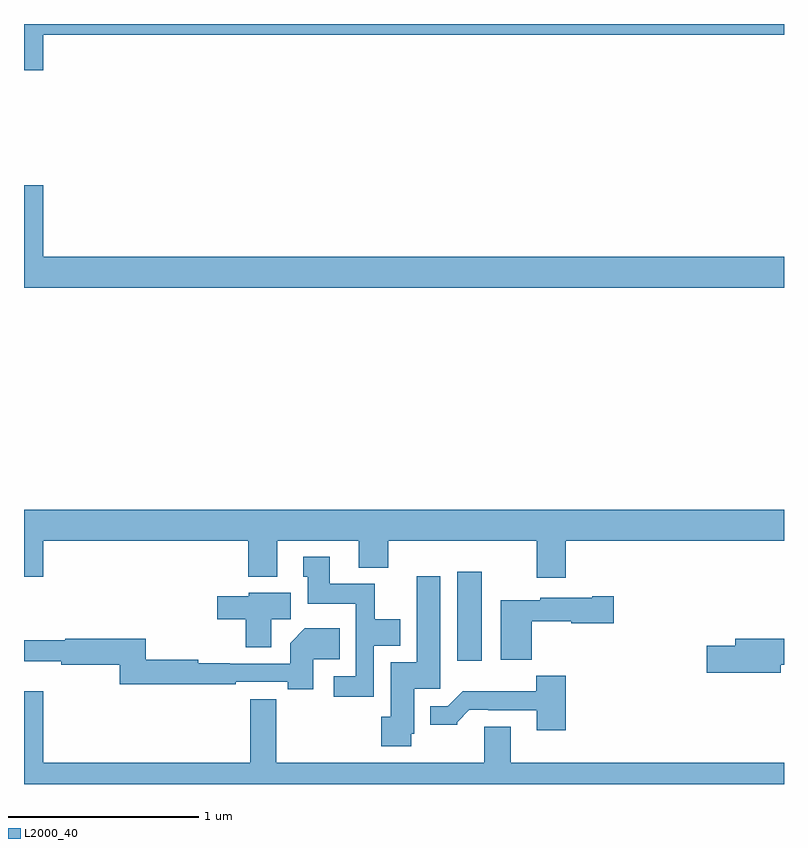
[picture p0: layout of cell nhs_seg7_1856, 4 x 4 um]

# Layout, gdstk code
import gdstk
lib = gdstk.Library(unit=1e-6, precision=1e-09)
def R(c, l, rs):  # rectangles x0, y0, x1, y1
    for r in rs: c.add(gdstk.rectangle(r[:2], r[2:], *l))
def P(c, l, *ps):  # polygons
    for p in ps: c.add(gdstk.Polygon(p, *l))
L2000_40 = (2000, 40)

nhs_seg7_1856 = lib.new_cell('nhs_seg7_1856')
R(nhs_seg7_1856, L2000_40, [(239.279,1002.648,239.41,1003.117)])
P(nhs_seg7_1856, L2000_40, [(237.1,1005.944),(241,1005.944),(241,1006),(237,1006),(237,1005.756),(237.1,1005.756)],
  [(241,1004.776),(237.1,1004.776),(237.1,1005.151),(237,1005.151),(237,1004.612),(241,1004.612)],
  [(239.852,1003.28),(241,1003.28),(241,1003.444),(237,1003.444),(237,1003.092),(237.1,1003.092),(237.1,1003.28),(238.181,1003.28),(238.181,1003.091),(238.333,1003.091),(238.333,1003.28),(238.763,1003.28),(238.763,1003.139),(238.916,1003.139),(238.916,1003.28),(239.699,1003.28),(239.699,1003.086),(239.852,1003.086)],
  [(238.842,1002.728),(238.981,1002.728),(238.981,1002.868),(238.845,1002.868),(238.845,1003.054),(238.609,1003.054),(238.609,1003.195),(238.469,1003.195),(238.469,1003.092),(238.493,1003.092),(238.493,1002.95),(238.746,1002.95),(238.746,1002.567),(238.629,1002.567),(238.629,1002.459),(238.842,1002.459)],
  [(239.037,1002.264),(239.053,1002.264),(239.053,1002.501),(239.191,1002.501),(239.191,1003.093),(239.066,1003.093),(239.066,1002.64),(238.931,1002.64),(238.931,1002.354),(238.88,1002.354),(238.88,1002.198),(239.037,1002.198)],
  [(238.3,1002.868),(238.405,1002.868),(238.405,1003.006),(238.182,1003.006),(238.182,1002.988),(238.017,1002.988),(238.017,1002.866),(238.166,1002.866),(238.166,1002.72),(238.3,1002.72)],
  [(239.672,1002.857),(239.88,1002.857),(239.88,1002.845),(240.103,1002.845),(240.103,1002.987),(239.99,1002.987),(239.99,1002.979),(239.718,1002.979),(239.718,1002.967),(239.51,1002.967),(239.51,1002.653),(239.672,1002.653)],
  [(238.522,1002.656),(238.661,1002.656),(238.661,1002.82),(238.478,1002.82),(238.4,1002.742),(238.4,1002.633),(238.082,1002.633),(238.082,1002.636),(237.918,1002.636),(237.918,1002.653),(237.641,1002.653),(237.641,1002.764),(237.218,1002.764),(237.218,1002.757),(237,1002.757),(237,1002.647),(237.196,1002.647),(237.196,1002.628),(237.505,1002.628),(237.505,1002.525),(238.115,1002.525),(238.115,1002.537),(238.388,1002.537),(238.388,1002.499),(238.522,1002.499)],
  [(240.982,1002.628),(241,1002.628),(241,1002.764),(240.743,1002.764),(240.743,1002.728),(240.594,1002.728),(240.594,1002.586),(240.982,1002.586)],
  [(239.852,1002.571),(239.697,1002.571),(239.697,1002.487),(239.308,1002.487),(239.229,1002.408),(239.138,1002.408),(239.138,1002.311),(239.28,1002.311),(239.28,1002.326),(239.344,1002.39),(239.443,1002.39),(239.443,1002.387),(239.699,1002.387),(239.699,1002.282),(239.852,1002.282)],
  [(241,1002.112),(239.563,1002.112),(239.563,1002.302),(239.423,1002.302),(239.423,1002.112),(238.328,1002.112),(238.328,1002.445),(238.192,1002.445),(238.192,1002.112),(237.1,1002.112),(237.1,1002.487),(237,1002.487),(237,1002),(241,1002)])

lib.write_gds('nhs_seg7_1856.gds')
